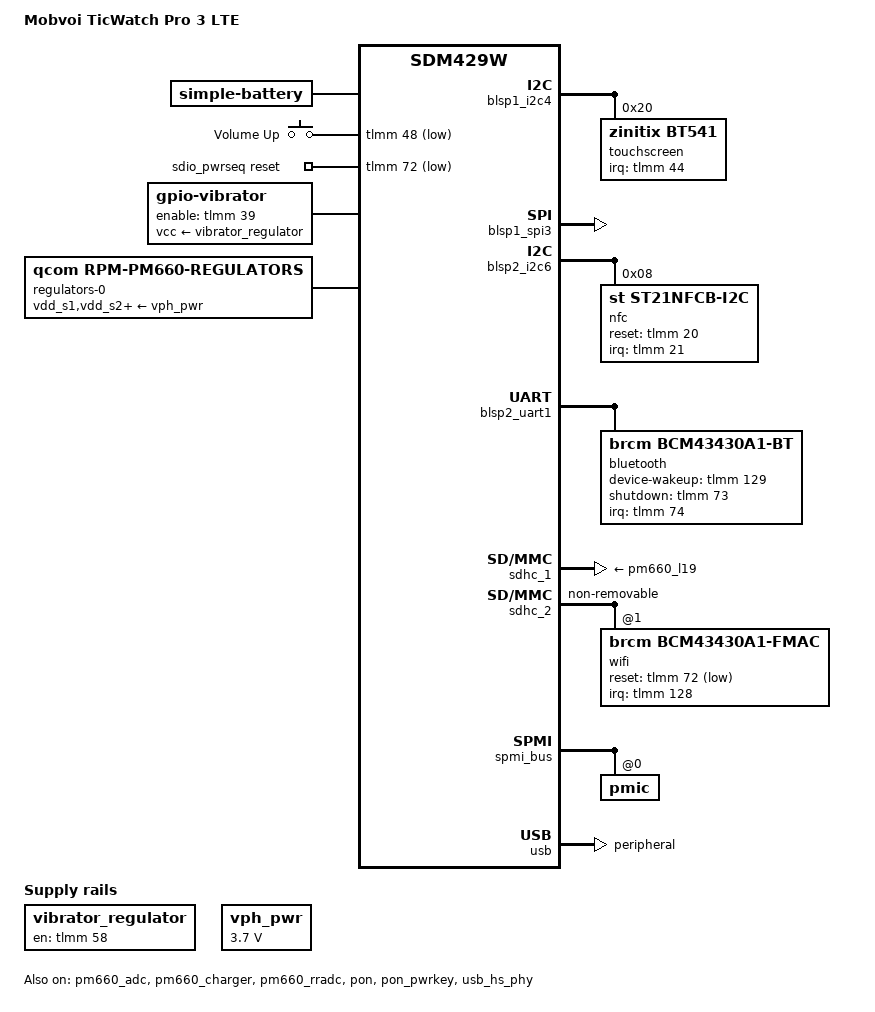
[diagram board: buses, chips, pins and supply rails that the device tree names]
// SPDX-License-Identifier: BSD-3-Clause
/*
 * Copyright (c) 2025 Vasiliy Doylov <nekocwd@mainlining.org>
 */
/dts-v1/;
#include <dt-bindings/arm/qcom,ids.h>
#include <dt-bindings/gpio/gpio.h>
#include <dt-bindings/input/qcom,spmi-haptics.h>
#include "sdm429.dtsi"
#include "pm660.dtsi"

/ {
	interrupt-parent = <&intc>;
	#address-cells = <2>;
	#size-cells = <2>;

	model = "Mobvoi TicWatch Pro 3 LTE";
	compatible = "mobvoi,rover", "qcom,sdm429w";

	battery: battery {
		compatible = "simple-battery";
		device-chemistry = "lithium-ion-polymer";

		constant-charge-current-max-microamp = <300000>;

		charge-full-design-microamp-hours = <595000>;
		voltage-min-design-microvolt = <3600000>;
		voltage-max-design-microvolt = <4450000>;
	};

	chosen {
		#address-cells = <2>;
		#size-cells = <2>;
		ranges;

		stdout-path = "framebuffer0";

		framebuffer0: framebuffer@90001000 {
			compatible = "simple-framebuffer";
			reg = <0x0 0x90001000 0x0 (454 * 454 * 3)>;
			width = <454>;
			height = <454>;
			stride = <(454 * 3)>;
			format = "r8g8b8";

			clocks = <&gcc GCC_MDSS_AHB_CLK>,
				 <&gcc GCC_MDSS_AXI_CLK>,
				 <&gcc GCC_MDSS_VSYNC_CLK>,
				 <&gcc GCC_MDSS_MDP_CLK>,
				 <&gcc GCC_MDSS_BYTE0_CLK>,
				 <&gcc GCC_MDSS_PCLK0_CLK>,
				 <&gcc GCC_MDSS_ESC0_CLK>;
			power-domains = <&gcc MDSS_GDSC>;
		};
	};

	usb_vbus: extcon-usb-dummy {
		compatible = "linux,extcon-usb-dummy";
	};

	gpio-keys {
		compatible = "gpio-keys";

		pinctrl-0 = <&gpio_keys_default>;
		pinctrl-names = "default";

		key-volup {
			label = "Volume Up";
			linux,code = <KEY_VOLUMEDOWN>;
			gpios = <&tlmm 48 (GPIO_ACTIVE_LOW | GPIO_PULL_UP)>;
			debounce-interval = <15>;
		};
	};

	reserved-memory {
		framebuffer_mem: memory@90001000 {
			reg = <0x0 0x90001000 0x0 (454 * 454 * 3)>;
			no-map;
		};
	};

	sdio_pwrseq: sdio-pwrseq {
		compatible = "mmc-pwrseq-simple";
		pinctrl-names = "default";
		pinctrl-0 = <&wifi_reg_on>;
		reset-gpios = <&tlmm 72 GPIO_ACTIVE_LOW>;
	};

	vibrator {
		compatible = "gpio-vibrator";
		enable-gpios = <&tlmm 39 GPIO_ACTIVE_HIGH>;
		vcc-supply = <&vibrator_regulator>;
	};

	vibrator_regulator: vibrator-regulator {
		compatible = "regulator-fixed";
		regulator-name = "vib_vreg";
		enable-active-high;
		gpio = <&tlmm 58 GPIO_ACTIVE_HIGH>;
	};

	vph_pwr: vph-pwr-regulator {
		compatible = "regulator-fixed";
		regulator-name = "vph_pwr";
		regulator-min-microvolt = <3700000>;
		regulator-max-microvolt = <3700000>;
		regulator-always-on;
		regulator-boot-on;
	};
};

&blsp1_i2c4 {
	status = "okay";

	touchscreen@20 {
		compatible = "zinitix,bt541";

		reg = <0x20>;
		interrupt-parent = <&tlmm>;
		interrupts = <44 IRQ_TYPE_EDGE_FALLING>;

		touchscreen-size-x = <454>;
		touchscreen-size-y = <454>;
	};
};

&blsp1_spi3 {
	status = "okay";

	// bcm4775 GNSS
};

&blsp2_i2c6 {
	status = "okay";

	// It seems to work, but this chip has no support on libnfc side
	nfc@8 {
		compatible = "st,st21nfcb-i2c";
		reg = <0x08>;

		interrupt-parent = <&tlmm>;
		interrupts = <21 IRQ_TYPE_LEVEL_HIGH>;
		reset-gpios = <&tlmm 20 GPIO_ACTIVE_HIGH>;

		ese-present;
		uicc-present;
	};
};

&blsp2_uart1 {
	status = "okay";

	bluetooth {
		compatible = "brcm,bcm43430a1-bt";
		interrupt-parent = <&tlmm>;
		interrupts = <74 IRQ_TYPE_LEVEL_HIGH>;
		interrupt-names = "host-wakeup";
		device-wakeup-gpios = <&tlmm 129 GPIO_ACTIVE_HIGH>;
		shutdown-gpios = <&tlmm 73 GPIO_ACTIVE_HIGH>;
		max-speed = <3000000>;
	};
};

&cpu_opp_table_c1 {
	/*
	 * Device works unstable on this frequency.
	 * Removed for stability reasons
	 */
	/delete-node/ opp-2016000000;
};

&pm660_adc {
	status = "okay";
};

&pm660_charger {
	monitored-battery = <&battery>;
	status = "okay";
};

&pm660_rradc {
	status = "okay";
};

&pm660_temp {
	status = "disabled";
};

&pon {
	status = "okay";
};

&pon_pwrkey {
	status = "okay";
};

&rpm_requests {
	regulators-0 {
		compatible = "qcom,rpm-pm660-regulators";

		vdd_s1-supply = <&vph_pwr>;
		vdd_s2-supply = <&vph_pwr>;
		vdd_s3-supply = <&vph_pwr>;
		vdd_s4-supply = <&vph_pwr>;
		vdd_s5-supply = <&vph_pwr>;
		vdd_s6-supply = <&vph_pwr>;

		/*
		 * S1A (FTAPC0), S2A (FTAPC1), S3A (HFAPC1) are managed
		 * by the Core Power Reduction hardened (CPRh) and the
		 * Operating State Manager (OSM) HW automatically.
		 */

		pm660_s4: s4 {
			regulator-min-microvolt = <1800000>;
			regulator-max-microvolt = <2040000>;
			regulator-enable-ramp-delay = <200>;
			regulator-ramp-delay = <0>;
			regulator-always-on;
		};

		pm660_s5: s5 {
			regulator-min-microvolt = <1040000>;
			regulator-max-microvolt = <1420000>;
			regulator-enable-ramp-delay = <200>;
			regulator-ramp-delay = <0>;
		};

		/* LDOs */
		pm660_l1: l1 {
			regulator-min-microvolt = <970000>;
			regulator-max-microvolt = <1280000>;
			regulator-enable-ramp-delay = <250>;
			regulator-ramp-delay = <0>;
			regulator-allow-set-load;
		};

		pm660_l3: l3 {
			regulator-min-microvolt = <900000>;
			regulator-max-microvolt = <1280000>;
			regulator-enable-ramp-delay = <250>;
			regulator-ramp-delay = <0>;
		};

		pm660_l5: l5 {
			regulator-min-microvolt = <1150000>;
			regulator-max-microvolt = <1450000>;
			regulator-enable-ramp-delay = <250>;
			regulator-ramp-delay = <0>;
		};

		pm660_l6: l6 {
			regulator-min-microvolt = <670000>;
			regulator-max-microvolt = <930000>;
			regulator-allow-set-load;
			regulator-enable-ramp-delay = <250>;
			regulator-ramp-delay = <0>;
		};

		pm660_l7: l7 {
			regulator-min-microvolt = <1140000>;
			regulator-max-microvolt = <1280000>;
			regulator-enable-ramp-delay = <250>;
			regulator-ramp-delay = <0>;
		};

		pm660_l8: l8 {
			regulator-min-microvolt = <1500000>;
			regulator-max-microvolt = <2040000>;
			regulator-enable-ramp-delay = <250>;
			regulator-ramp-delay = <0>;
			regulator-system-load = <325000>;
			regulator-allow-set-load;
		};

		pm660_l9: l9 {
			regulator-min-microvolt = <1200000>;
			regulator-max-microvolt = <2040000>;
			regulator-enable-ramp-delay = <250>;
			regulator-ramp-delay = <0>;
			regulator-allow-set-load;
		};

		pm660_l10: l10 {
			regulator-min-microvolt = <500000>;
			regulator-max-microvolt = <2040000>;
			regulator-enable-ramp-delay = <250>;
			regulator-ramp-delay = <0>;
			regulator-allow-set-load;
		};

		pm660_l11: l11 {
			regulator-min-microvolt = <1200000>;
			regulator-max-microvolt = <2040000>;
			regulator-enable-ramp-delay = <250>;
			regulator-ramp-delay = <0>;
		};

		pm660_l12: l12 {
			regulator-min-microvolt = <1620000>;
			regulator-max-microvolt = <2040000>;
			regulator-enable-ramp-delay = <250>;
			regulator-ramp-delay = <0>;
			regulator-always-on;
		};

		/* This gives power to the MMC: never turn it off! */
		pm660_l13: l13 {
			regulator-min-microvolt = <1600000>;
			regulator-max-microvolt = <2040000>;
			regulator-enable-ramp-delay = <250>;
			regulator-ramp-delay = <0>;
			regulator-allow-set-load;
			regulator-boot-on;
			regulator-always-on;
		};

		pm660_l15: l15 {
			regulator-min-microvolt = <3000000>;
			regulator-max-microvolt = <3400000>;
			regulator-enable-ramp-delay = <250>;
			regulator-ramp-delay = <0>;
		};

		pm660_l16: l16 {
			regulator-min-microvolt = <2970000>;
			regulator-max-microvolt = <3400000>;
			regulator-enable-ramp-delay = <250>;
			regulator-ramp-delay = <0>;
		};

		pm660_l19: l19 {
			regulator-min-microvolt = <2700000>;
			regulator-max-microvolt = <3400000>;
			regulator-enable-ramp-delay = <250>;
			regulator-ramp-delay = <0>;
			regulator-allow-set-load;
			regulator-boot-on;
			regulator-always-on;
		};
	};
};

&sdhc_1 {
	vmmc-supply = <&pm660_l19>;
	vqmmc-supply = <&pm660_l13>;
	status = "okay";
};

&sdhc_2 {
	cap-sd-highspeed;
	cap-sdio-irq;
	keep-power-in-suspend;
	max-frequency = <50000000>;
	mmc-pwrseq = <&sdio_pwrseq>;
	no-mmc;
	no-sd;
	non-removable;

	#address-cells = <1>;
	#size-cells = <0>;

	status = "okay";

	wifi@1 {
		compatible = "brcm,bcm43430a1-fmac", "brcm,bcm4329-fmac";
		reg = <1>;
		interrupt-parent = <&tlmm>;
		interrupts = <128 0x2008>;
		interrupt-names = "host-wake";
		reset-gpios = <&tlmm 72 GPIO_ACTIVE_LOW>;
	};
};

&sleep_clk {
	clock-frequency = <32768>;
};

&spmi_bus {
	pmic@0 {
		pm660_fg: fuel-gauge@4000 {
			compatible = "qcom,pmi8998-fg";
			reg = <0x4000>;

			interrupts = <0x0 0x40 0x2 IRQ_TYPE_EDGE_RISING>;
			interrupt-names = "soc-delta";

			power-supplies = <&pm660_charger>;
			monitored-battery = <&battery>;
		};
	};
};

&tlmm {
	status = "okay";

	gpio_keys_default: gpio-keys-default-state {
		pins = "gpio48";
		function = "gpio";
		drive-strength = <2>;
		bias-pull-up;
	};

	wifi_reg_on: wifi-reg-on-state {
		pins = "gpio72";
		function = "gpio";
		drive-strength = <2>;
		bias-disable;
	};
};

&usb {
	dr_mode = "peripheral";
	extcon = <&usb_vbus>;
	status = "okay";
};

&usb_hs_phy {
	vdd-supply = <&pm660_l6>;
	vdda1p8-supply = <&pm660_l12>;
	vdda3p3-supply = <&pm660_l16>;
	status = "okay";
};

&xo_board {
	clock-frequency = <19200000>;
};
